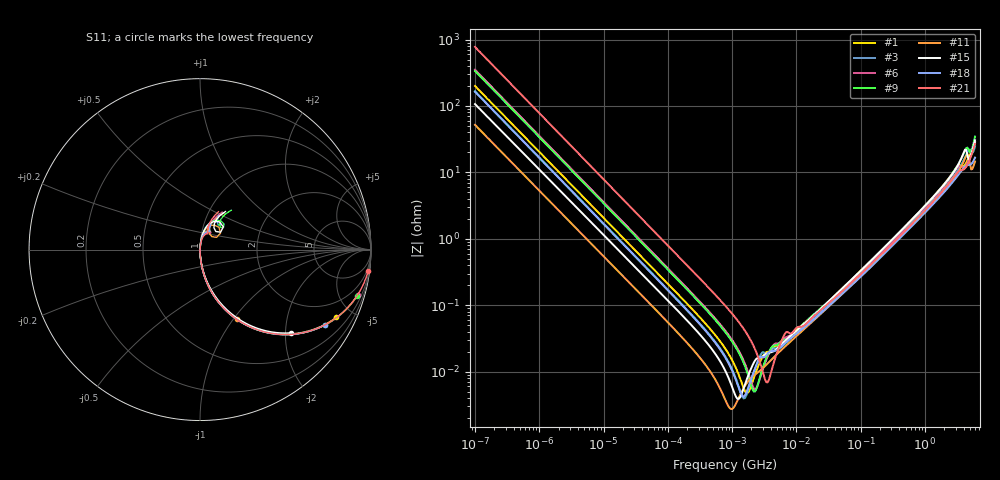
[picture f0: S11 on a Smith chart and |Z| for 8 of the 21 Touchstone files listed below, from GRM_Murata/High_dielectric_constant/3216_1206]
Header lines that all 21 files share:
!These Parameters are Measured in Series Mode Connection
!Data Generated on Mar 30, 2021
!  o--ll--o
!Port1  Port2
!  o------o
!Operation Temp=25[degC], DC Bias Voltage=0[V]
!Freq. Start=100[Hz] Stop=6[GHz] 401[Steps]
# Hz S RI R 50
!Freq.(Hz) S11(Real) S11(Imag) S21(Real) S21(Imag) S12(Real) S12(Imag) S22(Real) S22(Imag)
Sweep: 100 Hz to 6 GHz
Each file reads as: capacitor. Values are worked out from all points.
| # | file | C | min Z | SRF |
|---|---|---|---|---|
| 1 | GRM31CC81E106KE15.s2p | 7.93 uF | 4.73 mohm | 1.744 MHz |
| 2 | GRM31CD70J226ME19.s2p | 17.4 uF | 3.46 mohm | 1.129 MHz |
| 3 | GRM31CD71H106KE11.s2p | 9.63 uF | 3.96 mohm | 1.562 MHz |
| 4 | GRM31CD80G107MEA8.s2p | 83.5 uF | 2.01 mohm | 475.6 kHz |
| 5 | GRM31CE70G476ME15.s2p | 35.7 uF | 2.79 mohm | 749.2 kHz |
| 6 | GRM31CR11C475KA01.s2p | 4.53 uF | 5.38 mohm | 2.322 MHz |
| 7 | GRM31CR60E227ME11.s2p | 148 uF | 1.72 mohm | 328.9 kHz |
| 8 | GRM31CR60J106MC01.s2p | 9.75 uF | 4.54 mohm | 1.496 MHz |
| 9 | GRM31CR60J475KA01.s2p | 4.73 uF | 4.99 mohm | 2.26 MHz |
| 10 | GRM31CR61C106KA88.s2p | 9.47 uF | 4.41 mohm | - |
| 11 | GRM31CR61C476ME44.s2p | 30.5 uF | 2.73 mohm | 1.016 MHz |
| 12 | GRM31CR61H106KA12.s2p | 6.88 uF | 5.09 mohm | 1.959 MHz |
| 13 | GRM31CR70J106KA01.s2p | 9.75 uF | 4.54 mohm | 1.496 MHz |
| 14 | GRM31CR71A106KA01.s2p | 9.44 uF | 4.19 mohm | 1.549 MHz |
| 15 | GRM31CR71A226KE15.s2p | 14.9 uF | 3.88 mohm | 1.274 MHz |
| 16 | GRM31CR71A226ME15.s2p | 14.6 uF | 3.98 mohm | 1.287 MHz |
| 17 | GRM31CR71A475KA01.s2p | 4.46 uF | 5.17 mohm | 2.333 MHz |
| 18 | GRM31CR71C106KA12.s2p | 9.66 uF | 4.21 mohm | 1.548 MHz |
| 19 | GRM31CR71C106MAC7.s2p | 7.14 uF | 4.95 mohm | 1.911 MHz |
| 20 | GRM31CR71E106MA12.s2p | 6.8 uF | 4.86 mohm | - |
| 21 | GRM31CR71H225KA88.s2p | 2.05 uF | 6.87 mohm | 3.555 MHz |
